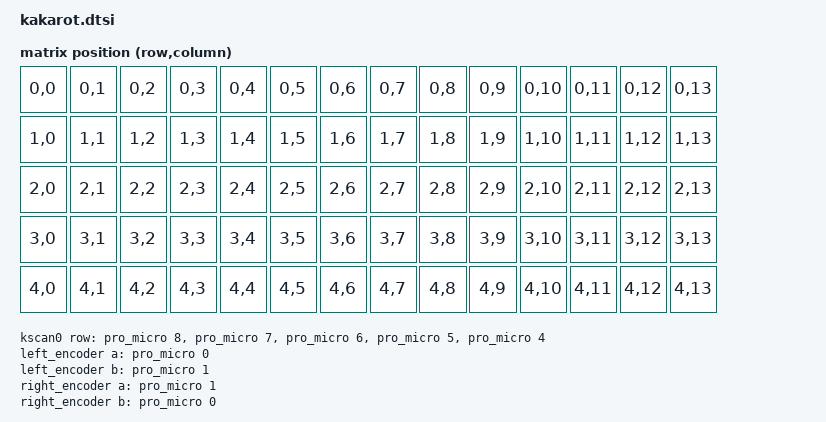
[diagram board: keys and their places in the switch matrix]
#include <dt-bindings/zmk/matrix_transform.h>
#include <dt-bindings/zmk/pointing.h>
#include <zephyr/dt-bindings/input/input-event-codes.h>
#include <input/processors.dtsi>

#include "kakarot-layouts.dtsi"


&physical_layout0 {
    transform = <&default_transform>; // Label of the matrix transform this layout uses
};

&adc {
	status = "okay";
};

/ {
    chosen {
        zephyr,display = &oled;
        zmk,kscan = &kscan0;
        zmk,physical-layout = &physical_layout0;
    };

    default_transform: keymap_transform0 {
        compatible = "zmk,matrix-transform";
        columns = <14>;
        rows = <5>;
        map = <
        RC(0,0)  RC(0,1)  RC(0,2)  RC(0,3)  RC(0,4)  RC(0,5)  RC(0,6)       RC(0,7)  RC(0,8)  RC(0,9)  RC(0,10)  RC(0,11)  RC(0,12)  RC(0,13)
        RC(1,0)  RC(1,1)  RC(1,2)  RC(1,3)  RC(1,4)  RC(1,5)  RC(1,6)       RC(1,7)  RC(1,8)  RC(1,9)  RC(1,10)  RC(1,11)  RC(1,12)  RC(1,13)
        RC(2,0)  RC(2,1)  RC(2,2)  RC(2,3)  RC(2,4)  RC(2,5)  RC(2,6)       RC(2,7)  RC(2,8)  RC(2,9)  RC(2,10)  RC(2,11)  RC(2,12)  RC(2,13)
        RC(3,0)  RC(3,1)  RC(3,2)  RC(3,3)  RC(3,4)  RC(3,5)  RC(3,6)       RC(3,7)  RC(3,8)  RC(3,9)  RC(3,10)  RC(3,11)  RC(3,12)  RC(3,13)
        RC(4,0)  RC(4,1)  RC(4,2)  RC(4,3)  RC(4,4)  RC(4,5)  RC(4,6)       RC(4,7)  RC(4,8)  RC(4,9)  RC(4,10)  RC(4,11)  RC(4,12)  RC(4,13)
        >;
    };

    kscan0: kscan {
        compatible = "zmk,kscan-gpio-matrix";
        wakeup-source;

        diode-direction = "col2row";
        row-gpios
            = <&pro_micro 8 (GPIO_ACTIVE_HIGH | GPIO_PULL_DOWN)>
            , <&pro_micro 7 (GPIO_ACTIVE_HIGH | GPIO_PULL_DOWN)>
            , <&pro_micro 6 (GPIO_ACTIVE_HIGH | GPIO_PULL_DOWN)>
            , <&pro_micro 5 (GPIO_ACTIVE_HIGH | GPIO_PULL_DOWN)>
            , <&pro_micro 4 (GPIO_ACTIVE_HIGH | GPIO_PULL_DOWN)>
            ;
    };

    left_encoder: encoder_left {
        compatible = "alps,ec11";
        a-gpios = <&pro_micro 0 (GPIO_ACTIVE_HIGH | GPIO_PULL_UP)>;
        b-gpios = <&pro_micro 1 (GPIO_ACTIVE_HIGH | GPIO_PULL_UP)>;
        steps = <80>;
        status = "disabled";
    };

    right_encoder: encoder_right {
        compatible = "alps,ec11";
        a-gpios = <&pro_micro 1 (GPIO_ACTIVE_HIGH | GPIO_PULL_UP)>;
        b-gpios = <&pro_micro 0 (GPIO_ACTIVE_HIGH | GPIO_PULL_UP)>;
        steps = <80>;
        status = "disabled";
    };

    sensors: sensors {
        compatible = "zmk,keymap-sensors";
        sensors = <&left_encoder &right_encoder>;
        triggers-per-rotation = <20>;
    };

    anin0: analog_input_0 {
        compatible = "zmk,analog-input";
        sampling-hz = <120>;
        y-ch {
            io-channels = <&adc 5>; // <--- see ain-map.png for nRF52840
            mv-mid = <1625>;
            mv-min-max = <1250>;
            mv-deadzone = <10>;
            scale-multiplier = <2>;
            scale-divisor = <70>;
            invert;
            evt-type = <INPUT_EV_REL>;
            input-code = <INPUT_REL_Y>;
        };
        x-ch {
            io-channels = <&adc 7>; // <--- see ain-map.png for nRF52840
            mv-mid = <1700>;
            mv-min-max = <1250>;
            mv-deadzone = <10>;
            scale-multiplier = <2>;
            scale-divisor = <70>;
            invert;
            evt-type = <INPUT_EV_REL>;
            input-code = <INPUT_REL_X>;

            /* enable report mode for gamepad axis or knob */
            /* to only call input_report on quantquantized value is updated */
            /* NOTE: mouse input does NOT need this */
            // report-on-change-only;

        };
    }; 

    joystick_listener: joystick_listener {
        compatible = "zmk,input-listener";
        status = "disabled";
    };

    split_inputs {
        #address-cells = <1>;
        #size-cells = <0>;

        joystick_split: joystick_split@0 {
            compatible = "zmk,input-split";
            reg = <0>;
        };
    };

    joystick_listener_right: joystick_listener_right {
        compatible = "zmk,input-listener";
        status = "disabled";
        device = <&joystick_split>;
        input-processors = <&zip_xy_scaler 1 8>;
        input-processors = <&zip_xy_to_scroll_mapper>;
    };
};

&pro_micro_i2c {
    status = "okay";

    oled: ssd1306@3c {
        compatible = "solomon,ssd1306fb";
        reg = <0x3c>;
        width = <128>;
        height = <64>;
        segment-offset = <0>;
        page-offset = <0>;
        display-offset = <0>;
        multiplex-ratio = <63>;
        segment-remap;
        com-invdir;
        com-sequential;
        inversion-on;
        prechargep = <0x22>;
    };
};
